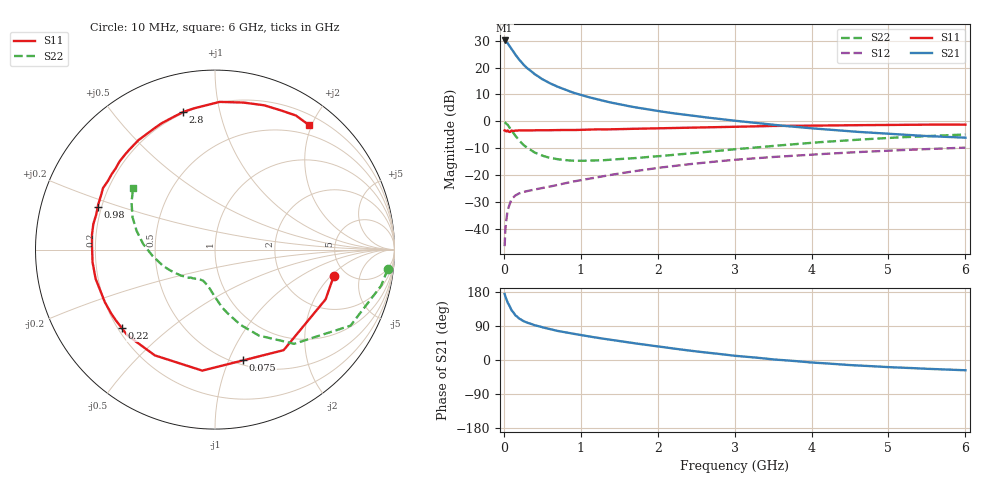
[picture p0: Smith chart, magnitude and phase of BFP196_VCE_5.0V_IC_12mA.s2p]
! Infineon Technologies  Discrete & RF Semiconductors
! BFP196
! VCE = 5.0 V,  IC =  12mA
! Common Emitter S-Parameters:  Jan 2016
# GHz  S  MA  R  50
!  f  S11  S21  S12  S22
! GHz  MAG  ANG  MAG  ANG  MAG  ANG  MAG  ANG
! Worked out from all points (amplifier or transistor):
!   210 points, 10 MHz to 6 GHz, reference 50 ohm
!   highest |S21| = 30.1 dB at 10 MHz (marker M1)
!   |S21| within 3 dB of that: start of sweep to 97.41 MHz
!   unconditionally stable (mu >= 1): 842.3 MHz to 3.376 GHz
!   at 185 MHz: K = 0.34, MSG = 25.2 dB, |S12| = -27.0 dB
!   at 1.52 GHz: K = 1.13, MAG = 10.6 dB, |S12| = -19.3 dB
!   at 6 GHz: K = 0.96, MSG = 1.9 dB, |S12| = -9.8 dB
!   S11 on the Smith chart (normalised r, x): 10 MHz: 4.01, -2.15; 75 MHz: 0.54, -1.13; 220 MHz: 0.22, -0.35; 980 MHz: 0.19, +0.17; 2.8 GHz: 0.19, +0.78; 6 GHz: 0.34, +1.95
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0.01  0.6782 -12.3  31.89 174.5  0.0048 83.6  0.9686 -6.5
0.02  0.6757 -24.2  30.93 167.3  0.0099 79.4  0.947 -12.3
0.05  0.6784 -55.7  28.29 151.3  0.0222 65.4  0.8658 -29.3
0.075  0.6367 -75.8  24.93 142.4  0.0288 56.1  0.7631 -38.4
0.1  0.678 -96.0  22.35 131.1  0.0359 50.3  0.6852 -50.0
0.15  0.678 -119.6  17.35 117.8  0.0421 41.9  0.5384 -62.9
0.2  0.683 -135.6  14.01 109.3  0.046 37.5  0.4414 -71.4
0.22  0.6787 -140.1  13.01 107.1  0.047 36.8  0.4125 -73.7
0.26  0.6791 -148.4  11.2 102.2  0.049 35.7  0.3614 -78.8
0.3  0.68 -154.5  9.83 98.5  0.0506 35.7  0.3257 -82.9
0.4  0.6848 -166.3  7.55 91.8  0.0542 35.3  0.2643 -90.1
0.5  0.6859 -174.2  6.075 86.2  0.0582 37.3  0.2301 -95.3
0.7  0.6904 173.1  4.399 76.7  0.0661 40.7  0.1976 -104.3
0.98  0.6955 159.9  3.164 66.6  0.08 43.7  0.1852 -112.5
1.02  0.6981 158.2  3.044 65.2  0.0819 44.1  0.1854 -113.6
1.4  0.7127 143.9  2.223 53.1  0.1018 45.9  0.1943 -123.2
2.02  0.7444 124.4  1.547 35.4  0.1376 43.9  0.2258 -138.7
2.8  0.787 103.0  1.112 16.0  0.1819 37.5  0.2846 -157.9
3.1  0.799 96.4  0.995 9.5  0.1981 34.2  0.3113 -165.1
4.1  0.8362 77.4  0.725 -7.8  0.2458 23.4  0.4101 173.6
5.1  0.8605 63.4  0.576 -19.6  0.2898 12.3  0.5008 156.9
6  0.8694 53.1  0.498 -27.1  0.3252 1.8  0.5711 143.1
